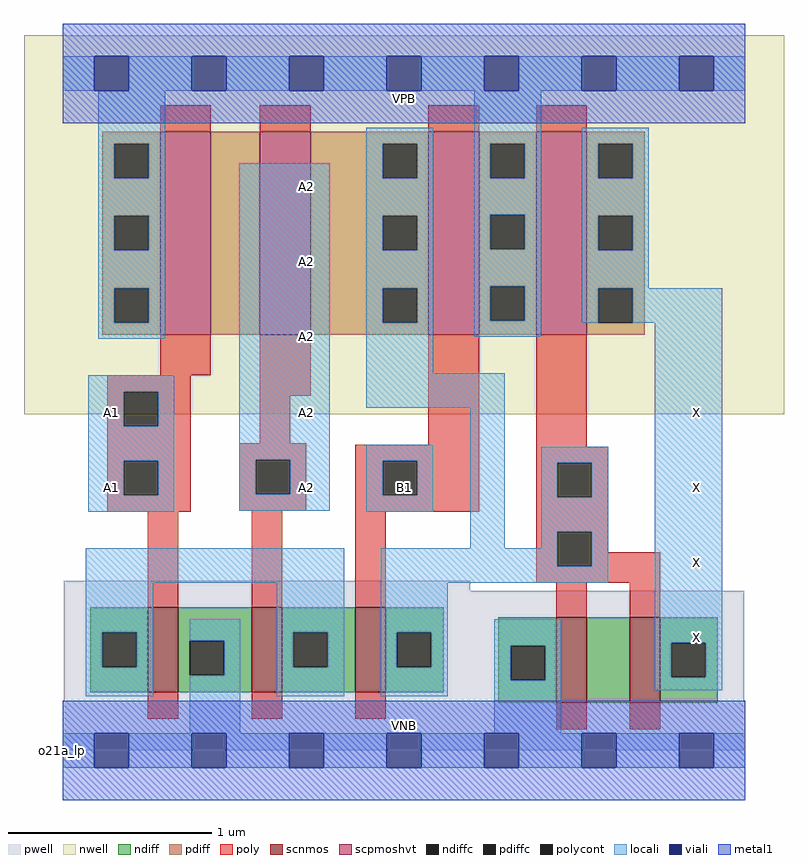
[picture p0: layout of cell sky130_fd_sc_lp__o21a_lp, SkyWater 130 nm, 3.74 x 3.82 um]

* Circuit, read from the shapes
.subckt sky130_fd_sc_lp__o21a_lp A1 A2 B1 VGND VNB VPB VPWR X
XM1 VGND A1 n1 VNB sky130_fd_pr__nfet_01v8 w=0.42 l=0.15
XM2 n1 A2 VGND VNB sky130_fd_pr__nfet_01v8 w=0.42 l=0.15
XM3 n2 B1 n1 VNB sky130_fd_pr__nfet_01v8 w=0.42 l=0.15
XM4 n3 n2 VGND VNB sky130_fd_pr__nfet_01v8 w=0.42 l=0.15
XM5 X n2 n3 VNB sky130_fd_pr__nfet_01v8 w=0.42 l=0.15
XM6 n4 A1 VPWR VPB sky130_fd_pr__pfet_01v8_hvt w=1 l=0.25
XM7 n2 A2 n4 VPB sky130_fd_pr__pfet_01v8_hvt w=1 l=0.25
XM8 VPWR B1 n2 VPB sky130_fd_pr__pfet_01v8_hvt w=1 l=0.25
XM9 X n2 VPWR VPB sky130_fd_pr__pfet_01v8_hvt w=1 l=0.25
.ends

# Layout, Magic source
magic
tech sky130A
magscale 1 2
<< nwell >>
rect -38 331 710 704
<< pwell >>
rect 1 157 401 167
rect 1 49 671 157
rect 0 0 672 49
<< scnmos >>
rect 84 57 114 141
rect 186 57 216 141
rect 288 57 318 141
rect 486 47 516 131
rect 558 47 588 131
<< scpmoshvt >>
rect 96 409 146 609
rect 194 409 244 609
rect 360 409 410 609
rect 466 409 516 609
<< ndiff >>
rect 27 116 84 141
rect 27 82 39 116
rect 73 82 84 116
rect 27 57 84 82
rect 114 108 186 141
rect 114 74 125 108
rect 159 74 186 108
rect 114 57 186 74
rect 216 116 288 141
rect 216 82 227 116
rect 261 82 288 116
rect 216 57 288 82
rect 318 116 375 141
rect 318 82 329 116
rect 363 82 375 116
rect 318 57 375 82
rect 429 103 486 131
rect 429 69 441 103
rect 475 69 486 103
rect 429 47 486 69
rect 516 47 558 131
rect 588 106 645 131
rect 588 72 599 106
rect 633 72 645 106
rect 588 47 645 72
<< pdiff >>
rect 39 597 96 609
rect 39 563 51 597
rect 85 563 96 597
rect 39 526 96 563
rect 39 492 51 526
rect 85 492 96 526
rect 39 455 96 492
rect 39 421 51 455
rect 85 421 96 455
rect 39 409 96 421
rect 146 409 194 609
rect 244 597 360 609
rect 244 563 315 597
rect 349 563 360 597
rect 244 526 360 563
rect 244 492 315 526
rect 349 492 360 526
rect 244 455 360 492
rect 244 421 315 455
rect 349 421 360 455
rect 244 409 360 421
rect 410 597 466 609
rect 410 563 421 597
rect 455 563 466 597
rect 410 527 466 563
rect 410 493 421 527
rect 455 493 466 527
rect 410 457 466 493
rect 410 423 421 457
rect 455 423 466 457
rect 410 409 466 423
rect 516 597 573 609
rect 516 563 527 597
rect 561 563 573 597
rect 516 526 573 563
rect 516 492 527 526
rect 561 492 573 526
rect 516 455 573 492
rect 516 421 527 455
rect 561 421 573 455
rect 516 409 573 421
<< ndiffc >>
rect 39 82 73 116
rect 125 74 159 108
rect 227 82 261 116
rect 329 82 363 116
rect 441 69 475 103
rect 599 72 633 106
<< pdiffc >>
rect 51 563 85 597
rect 51 492 85 526
rect 51 421 85 455
rect 315 563 349 597
rect 315 492 349 526
rect 315 421 349 455
rect 421 563 455 597
rect 421 493 455 527
rect 421 423 455 457
rect 527 563 561 597
rect 527 492 561 526
rect 527 421 561 455
<< poly >>
rect 96 609 146 635
rect 194 609 244 635
rect 360 609 410 635
rect 466 609 516 635
rect 96 369 146 409
rect 44 353 126 369
rect 44 319 60 353
rect 94 319 126 353
rect 44 285 126 319
rect 194 349 244 409
rect 194 302 224 349
rect 44 251 60 285
rect 94 251 126 285
rect 44 235 126 251
rect 174 286 240 302
rect 360 301 410 409
rect 174 252 190 286
rect 224 252 240 286
rect 174 236 240 252
rect 288 285 410 301
rect 288 251 315 285
rect 349 251 410 285
rect 84 141 114 235
rect 186 141 216 236
rect 288 235 410 251
rect 466 299 516 409
rect 466 283 537 299
rect 466 249 487 283
rect 521 249 537 283
rect 288 141 318 235
rect 466 215 537 249
rect 466 181 487 215
rect 521 195 537 215
rect 521 181 588 195
rect 466 165 588 181
rect 486 131 516 165
rect 558 131 588 165
rect 84 31 114 57
rect 186 31 216 57
rect 288 31 318 57
rect 486 21 516 47
rect 558 21 588 47
<< polycont >>
rect 60 319 94 353
rect 60 251 94 285
rect 190 252 224 286
rect 315 251 349 285
rect 487 249 521 283
rect 487 181 521 215
<< locali >>
rect 0 649 31 683
rect 65 649 127 683
rect 161 649 223 683
rect 257 649 319 683
rect 353 649 415 683
rect 449 649 511 683
rect 545 649 607 683
rect 641 649 672 683
rect 35 597 101 649
rect 35 563 51 597
rect 85 563 101 597
rect 299 597 365 613
rect 35 526 101 563
rect 35 492 51 526
rect 85 492 101 526
rect 35 455 101 492
rect 35 421 51 455
rect 85 421 101 455
rect 35 405 101 421
rect 25 353 110 369
rect 25 319 60 353
rect 94 319 110 353
rect 25 285 110 319
rect 25 251 60 285
rect 94 251 110 285
rect 25 235 110 251
rect 174 286 263 578
rect 299 563 315 597
rect 349 563 365 597
rect 299 526 365 563
rect 299 492 315 526
rect 349 492 365 526
rect 299 455 365 492
rect 299 421 315 455
rect 349 421 365 455
rect 299 371 365 421
rect 405 597 471 649
rect 405 563 421 597
rect 455 563 471 597
rect 405 527 471 563
rect 405 493 421 527
rect 455 493 471 527
rect 405 457 471 493
rect 405 423 421 457
rect 455 423 471 457
rect 405 407 471 423
rect 511 597 577 613
rect 511 563 527 597
rect 561 563 577 597
rect 511 526 577 563
rect 511 492 527 526
rect 561 492 577 526
rect 511 455 577 492
rect 511 421 527 455
rect 561 421 649 455
rect 299 337 435 371
rect 174 252 190 286
rect 224 252 263 286
rect 174 236 263 252
rect 299 285 365 301
rect 299 251 315 285
rect 349 251 365 285
rect 299 235 365 251
rect 401 199 435 337
rect 471 283 537 299
rect 471 249 487 283
rect 521 249 537 283
rect 471 215 537 249
rect 471 199 487 215
rect 23 165 277 199
rect 23 116 89 165
rect 23 82 39 116
rect 73 82 89 116
rect 23 53 89 82
rect 125 108 175 129
rect 159 74 175 108
rect 125 17 175 74
rect 211 116 277 165
rect 211 82 227 116
rect 261 82 277 116
rect 211 53 277 82
rect 313 181 487 199
rect 521 181 537 215
rect 313 165 537 181
rect 313 116 379 165
rect 313 82 329 116
rect 363 82 379 116
rect 313 53 379 82
rect 425 103 491 129
rect 425 69 441 103
rect 475 69 491 103
rect 425 17 491 69
rect 583 106 649 421
rect 583 72 599 106
rect 633 72 649 106
rect 583 59 649 72
rect 0 -17 31 17
rect 65 -17 127 17
rect 161 -17 223 17
rect 257 -17 319 17
rect 353 -17 415 17
rect 449 -17 511 17
rect 545 -17 607 17
rect 641 -17 672 17
<< viali >>
rect 31 649 65 683
rect 127 649 161 683
rect 223 649 257 683
rect 319 649 353 683
rect 415 649 449 683
rect 511 649 545 683
rect 607 649 641 683
rect 31 -17 65 17
rect 127 -17 161 17
rect 223 -17 257 17
rect 319 -17 353 17
rect 415 -17 449 17
rect 511 -17 545 17
rect 607 -17 641 17
<< metal1 >>
rect 0 683 672 715
rect 0 649 31 683
rect 65 649 127 683
rect 161 649 223 683
rect 257 649 319 683
rect 353 649 415 683
rect 449 649 511 683
rect 545 649 607 683
rect 641 649 672 683
rect 0 617 672 649
rect 0 17 672 49
rect 0 -17 31 17
rect 65 -17 127 17
rect 161 -17 223 17
rect 257 -17 319 17
rect 353 -17 415 17
rect 449 -17 511 17
rect 545 -17 607 17
rect 641 -17 672 17
rect 0 -49 672 -17
<< labels >>
flabel pwell s 0 0 672 49 0 FreeSans 200 0 0 0 VNB
port 5 nsew ground bidirectional
flabel nwell s 0 617 672 666 0 FreeSans 200 0 0 0 VPB
port 6 nsew power bidirectional
rlabel comment s 0 0 0 0 4 o21a_lp
flabel metal1 s 0 617 672 666 0 FreeSans 340 0 0 0 VPWR
port 7 nsew power bidirectional
flabel metal1 s 0 0 672 49 0 FreeSans 340 0 0 0 VGND
port 4 nsew ground bidirectional
flabel locali s 319 242 353 276 0 FreeSans 340 0 0 0 B1
port 3 nsew signal input
flabel locali s 223 242 257 276 0 FreeSans 340 0 0 0 A2
port 2 nsew signal input
flabel locali s 223 316 257 350 0 FreeSans 340 0 0 0 A2
port 2 nsew signal input
flabel locali s 223 390 257 424 0 FreeSans 340 0 0 0 A2
port 2 nsew signal input
flabel locali s 223 464 257 498 0 FreeSans 340 0 0 0 A2
port 2 nsew signal input
flabel locali s 223 538 257 572 0 FreeSans 340 0 0 0 A2
port 2 nsew signal input
flabel locali s 31 242 65 276 0 FreeSans 340 0 0 0 A1
port 1 nsew signal input
flabel locali s 31 316 65 350 0 FreeSans 340 0 0 0 A1
port 1 nsew signal input
flabel locali s 607 94 641 128 0 FreeSans 340 0 0 0 X
port 8 nsew signal output
flabel locali s 607 168 641 202 0 FreeSans 340 0 0 0 X
port 8 nsew signal output
flabel locali s 607 242 641 276 0 FreeSans 340 0 0 0 X
port 8 nsew signal output
flabel locali s 607 316 641 350 0 FreeSans 340 0 0 0 X
port 8 nsew signal output
<< properties >>
string LEFsite unit
string LEFclass CORE
string FIXED_BBOX 0 0 672 666
string GDS_FILE $PDKPATH/libs.ref/sky130_fd_sc_lp/gds/sky130_fd_sc_lp.gds
string LEFsymmetry X Y R90
string GDS_END 802090
string GDS_START 795380
<< end >>
